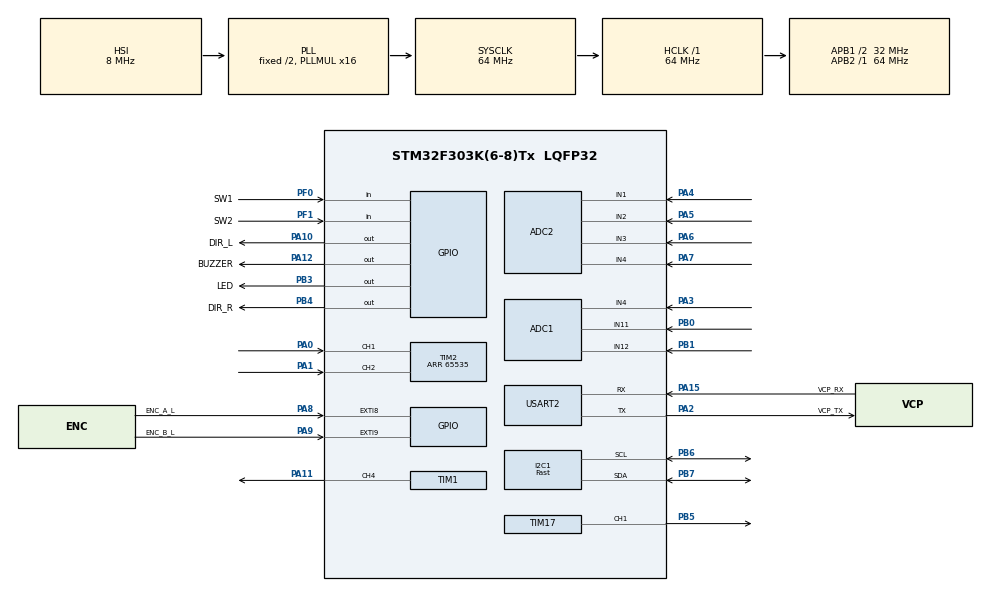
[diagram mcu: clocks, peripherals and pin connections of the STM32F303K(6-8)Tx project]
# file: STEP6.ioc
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ADC1.Channel-3\#ChannelRegularConversion=ADC_CHANNEL_4
ADC1.Channel-4\#ChannelRegularConversion=ADC_CHANNEL_11
ADC1.Channel-5\#ChannelRegularConversion=ADC_CHANNEL_12
ADC1.ContinuousConvMode=DISABLE
ADC1.DMAContinuousRequests=ENABLE
ADC1.DiscontinuousConvMode=ENABLE
ADC1.ExternalTrigConv=ADC_EXTERNALTRIGCONV_T3_TRGO
ADC1.NbrOfConversion=3
ADC1.NbrOfConversionFlag=1
ADC1.NbrOfDiscConversion=3
ADC1.Offset-3\#ChannelRegularConversion=0
ADC1.Offset-4\#ChannelRegularConversion=0
ADC1.Offset-5\#ChannelRegularConversion=0
ADC1.OffsetNumber-3\#ChannelRegularConversion=ADC_OFFSET_NONE
ADC1.OffsetNumber-4\#ChannelRegularConversion=ADC_OFFSET_NONE
ADC1.OffsetNumber-5\#ChannelRegularConversion=ADC_OFFSET_NONE
ADC1.Rank-3\#ChannelRegularConversion=1
ADC1.Rank-4\#ChannelRegularConversion=2
ADC1.Rank-5\#ChannelRegularConversion=3
ADC1.SamplingTime-3\#ChannelRegularConversion=ADC_SAMPLETIME_4CYCLES_5
ADC1.SamplingTime-4\#ChannelRegularConversion=ADC_SAMPLETIME_4CYCLES_5
ADC1.SamplingTime-5\#ChannelRegularConversion=ADC_SAMPLETIME_4CYCLES_5
ADC1.SubFamily=STM32F303x8
ADC1.master=1
ADC2.Channel-3\#ChannelRegularConversion=ADC_CHANNEL_1
ADC2.Channel-4\#ChannelRegularConversion=ADC_CHANNEL_2
ADC2.Channel-5\#ChannelRegularConversion=ADC_CHANNEL_3
ADC2.Channel-6\#ChannelRegularConversion=ADC_CHANNEL_4
ADC2.ContinuousConvMode=DISABLE
ADC2.DMAContinuousRequests=ENABLE
ADC2.DiscontinuousConvMode=ENABLE
ADC2.ExternalTrigConv=ADC_EXTERNALTRIGCONV_T3_TRGO
ADC2.NbrOfConversion=4
ADC2.NbrOfConversionFlag=1
ADC2.NbrOfDiscConversion=4
ADC2.Offset-3\#ChannelRegularConversion=0
ADC2.Offset-4\#ChannelRegularConversion=0
ADC2.Offset-5\#ChannelRegularConversion=0
ADC2.Offset-6\#ChannelRegularConversion=0
ADC2.OffsetNumber-3\#ChannelRegularConversion=ADC_OFFSET_NONE
ADC2.OffsetNumber-4\#ChannelRegularConversion=ADC_OFFSET_NONE
ADC2.OffsetNumber-5\#ChannelRegularConversion=ADC_OFFSET_NONE
ADC2.OffsetNumber-6\#ChannelRegularConversion=ADC_OFFSET_NONE
ADC2.Rank-3\#ChannelRegularConversion=1
ADC2.Rank-4\#ChannelRegularConversion=2
ADC2.Rank-5\#ChannelRegularConversion=3
ADC2.Rank-6\#ChannelRegularConversion=4
ADC2.SamplingTime-3\#ChannelRegularConversion=ADC_SAMPLETIME_4CYCLES_5
ADC2.SamplingTime-4\#ChannelRegularConversion=ADC_SAMPLETIME_4CYCLES_5
ADC2.SamplingTime-5\#ChannelRegularConversion=ADC_SAMPLETIME_4CYCLES_5
ADC2.SamplingTime-6\#ChannelRegularConversion=ADC_SAMPLETIME_4CYCLES_5
ADC2.SubFamily=STM32F303x8
Dma.ADC1.0.Direction=DMA_PERIPH_TO_MEMORY
Dma.ADC1.0.Instance=DMA1_Channel1
Dma.ADC1.0.MemDataAlignment=DMA_MDATAALIGN_HALFWORD
Dma.ADC1.0.MemInc=DMA_MINC_ENABLE
Dma.ADC1.0.Mode=DMA_CIRCULAR
Dma.ADC1.0.PeriphDataAlignment=DMA_PDATAALIGN_HALFWORD
Dma.ADC1.0.PeriphInc=DMA_PINC_DISABLE
Dma.ADC1.0.Priority=DMA_PRIORITY_LOW
Dma.ADC2.1.Direction=DMA_PERIPH_TO_MEMORY
Dma.ADC2.1.Instance=DMA1_Channel2
Dma.ADC2.1.MemDataAlignment=DMA_MDATAALIGN_HALFWORD
Dma.ADC2.1.MemInc=DMA_MINC_ENABLE
Dma.ADC2.1.Mode=DMA_CIRCULAR
Dma.ADC2.1.PeriphDataAlignment=DMA_PDATAALIGN_HALFWORD
Dma.ADC2.1.PeriphInc=DMA_PINC_DISABLE
Dma.ADC2.1.Priority=DMA_PRIORITY_LOW
Dma.I2C1_RX.2.Direction=DMA_PERIPH_TO_MEMORY
Dma.I2C1_RX.2.Instance=DMA1_Channel3
Dma.I2C1_RX.2.MemDataAlignment=DMA_MDATAALIGN_BYTE
Dma.I2C1_RX.2.MemInc=DMA_MINC_ENABLE
Dma.I2C1_RX.2.Mode=DMA_NORMAL
Dma.I2C1_RX.2.PeriphDataAlignment=DMA_PDATAALIGN_BYTE
Dma.I2C1_RX.2.PeriphInc=DMA_PINC_DISABLE
Dma.I2C1_RX.2.Priority=DMA_PRIORITY_LOW
Dma.I2C1_TX.3.Direction=DMA_MEMORY_TO_PERIPH
Dma.I2C1_TX.3.Instance=DMA1_Channel4
Dma.I2C1_TX.3.MemDataAlignment=DMA_MDATAALIGN_BYTE
Dma.I2C1_TX.3.MemInc=DMA_MINC_ENABLE
Dma.I2C1_TX.3.Mode=DMA_NORMAL
Dma.I2C1_TX.3.PeriphDataAlignment=DMA_PDATAALIGN_BYTE
Dma.I2C1_TX.3.PeriphInc=DMA_PINC_DISABLE
Dma.I2C1_TX.3.Priority=DMA_PRIORITY_LOW
Dma.Request0=ADC1
Dma.Request1=ADC2
Dma.Request2=I2C1_RX
Dma.Request3=I2C1_TX
I2C1.Analog_Filter=I2C_ANALOGFILTER_ENABLE
I2C1.I2C_Speed_Mode=I2C_Fast
I2C1.Speed=400
I2C1.Timing=0x0000020B
Mcu.Family=STM32F3
Mcu.Name=STM32F303K(6-8)Tx
Mcu.Package=LQFP32
NVIC.DMA1_Channel1_IRQn=true\:0\:0\:false\:false\:true\:false\:true
NVIC.DMA1_Channel2_IRQn=true\:0\:0\:false\:false\:true\:false\:true
NVIC.DMA1_Channel3_IRQn=true\:0\:0\:false\:false\:true\:false\:true
NVIC.DMA1_Channel4_IRQn=true\:0\:0\:false\:false\:true\:false\:true
NVIC.EXTI9_5_IRQn=true\:0\:0\:false\:false\:true\:true\:true
NVIC.I2C1_EV_IRQn=true\:0\:0\:false\:false\:true\:true\:true
NVIC.PriorityGroup=NVIC_PRIORITYGROUP_4
NVIC.TIM6_DAC1_IRQn=true\:0\:0\:false\:false\:true\:true\:true
NVIC.TIM7_DAC2_IRQn=true\:0\:0\:false\:false\:true\:true\:true
PA0.Signal=S_TIM2_CH1_ETR
PA1.Signal=S_TIM2_CH2
PA10.GPIO_Label=DIR_L
PA10.Signal=GPIO_Output
PA11.Signal=S_TIM1_CH4
PA12.GPIO_Label=BUZZER
PA12.Signal=GPIO_Output
PA13.GPIO_Label=SWDIO
PA13.Mode=Serial_Wire
PA13.Signal=SYS_JTMS-SWDIO
PA14.GPIO_Label=SWCLK
PA14.Mode=Serial_Wire
PA14.Signal=SYS_JTCK-SWCLK
PA15.GPIO_Label=VCP_RX
PA15.Mode=Asynchronous
PA15.Signal=USART2_RX
PA2.GPIO_Label=VCP_TX
PA2.Mode=Asynchronous
PA2.Signal=USART2_TX
PA3.Mode=IN4-Single-Ended
PA3.Signal=ADC1_IN4
PA4.Mode=IN1-Single-Ended
PA4.Signal=ADC2_IN1
PA5.Mode=IN2-Single-Ended
PA5.Signal=ADC2_IN2
PA6.Mode=IN3-Single-Ended
PA6.Signal=ADC2_IN3
PA7.Mode=IN4-Single-Ended
PA7.Signal=ADC2_IN4
PA8.GPIO_Label=ENC_A_L
PA8.GPIO_ModeDefaultEXTI=GPIO_MODE_IT_RISING_FALLING
PA8.Signal=GPXTI8
PA9.GPIO_Label=ENC_B_L
PA9.GPIO_ModeDefaultEXTI=GPIO_MODE_IT_RISING_FALLING
PA9.Signal=GPXTI9
PB0.Mode=IN11-Single-Ended
PB0.Signal=ADC1_IN11
PB1.Mode=IN12-Single-Ended
PB1.Signal=ADC1_IN12
PB3.GPIO_Label=LED
PB3.Signal=GPIO_Output
PB4.GPIO_Label=DIR_R
PB4.Signal=GPIO_Output
PB5.Signal=S_TIM17_CH1
PB6.GPIO_PuPdOD=GPIO_PULLUP
PB6.Mode=I2C
PB6.Signal=I2C1_SCL
PB7.GPIO_PuPdOD=GPIO_PULLUP
PB7.Mode=I2C
PB7.Signal=I2C1_SDA
PF0\ /\ OSC_IN.GPIO_Label=SW1
PF0\ /\ OSC_IN.GPIO_PuPd=GPIO_PULLUP
PF0\ /\ OSC_IN.Signal=GPIO_Input
PF1\ /\ OSC_OUT.GPIO_Label=SW2
PF1\ /\ OSC_OUT.GPIO_PuPd=GPIO_PULLUP
PF1\ /\ OSC_OUT.Signal=GPIO_Input
ProjectManager.HeapSize=0x200
ProjectManager.StackSize=0x400
ProjectManager.TargetToolchain=STM32CubeIDE
RCC.AHBFreq_Value=64000000
RCC.APB1CLKDivider=RCC_HCLK_DIV2
RCC.APB1Freq_Value=32000000
RCC.APB1TimFreq_Value=64000000
RCC.APB2Freq_Value=64000000
RCC.APB2TimFreq_Value=64000000
RCC.CortexFreq_Value=64000000
RCC.HCLKFreq_Value=64000000
RCC.HSE_VALUE=8000000
RCC.HSI_VALUE=8000000
RCC.PLLMUL=RCC_PLL_MUL16
RCC.SYSCLKFreq_VALUE=64000000
RCC.SYSCLKSourceVirtual=RCC_SYSCLKSOURCE_PLLCLK
SH.S_TIM17_CH1.0=TIM17_CH1,PWM Generation1 CH1
SH.S_TIM1_CH4.0=TIM1_CH4,PWM Generation4 CH4
SH.S_TIM2_CH1_ETR.0=TIM2_CH1,Encoder_Interface
SH.S_TIM2_CH2.0=TIM2_CH2,Encoder_Interface
TIM1.AutoReloadPreload=TIM_AUTORELOAD_PRELOAD_ENABLE
TIM1.Channel-PWM\ Generation4\ CH4=TIM_CHANNEL_4
TIM1.Period=3199
TIM1.Prescaler=0
TIM1.Pulse-PWM\ Generation4\ CH4=0
TIM17.AutoReloadPreload=TIM_AUTORELOAD_PRELOAD_ENABLE
TIM17.Channel=TIM_CHANNEL_1
TIM17.Period=3199
TIM17.Prescaler=0
TIM17.Pulse=0
TIM2.AutoReloadPreload=TIM_AUTORELOAD_PRELOAD_ENABLE
TIM2.EncoderMode=TIM_ENCODERMODE_TI12
TIM2.Period=65535
TIM3.AutoReloadPreload=TIM_AUTORELOAD_PRELOAD_ENABLE
TIM3.Period=999
TIM3.Prescaler=63
TIM3.TIM_MasterOutputTrigger=TIM_TRGO_UPDATE
TIM6.AutoReloadPreload=TIM_AUTORELOAD_PRELOAD_ENABLE
TIM6.Period=499
TIM6.Prescaler=63
TIM7.AutoReloadPreload=TIM_AUTORELOAD_PRELOAD_ENABLE
TIM7.Period=9999
TIM7.Prescaler=63
USART2.VirtualMode-Asynchronous=VM_ASYNC
VP_TIM17_VS_ClockSourceINT.Mode=Enable_Timer
VP_TIM3_VS_ClockSourceINT.Mode=Internal
VP_TIM6_VS_ClockSourceINT.Mode=Enable_Timer
VP_TIM7_VS_ClockSourceINT.Mode=Enable_Timer
board=NUCLEO-F303K8

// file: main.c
/* USER CODE BEGIN Header */
/**
  ******************************************************************************
  * @file           : main.c
  * @brief          : Main program body
  ******************************************************************************
  * @attention
  *
  * Copyright (c) 2020 RT Corporation
  * License: Apache License, Version 2.0
  * https://www.apache.org/licenses/LICENSE-2.0
  *
  * This file is licensed the Apache License, Version 2.0.
  * This file is based on the auto generated template .c file
  * released by STMicroelectronics licensed under the BSD 3-Clause License.
  *
  *=*=*=*=*=*=*=*=*=*=*=*=*=*=*=*=*=*=*=*=*=*=*=*=*=*=*=*=*=*=*=*=*=*=*=*=*=*=
  * <h2><center>&copy; Copyright (c) 2020 STMicroelectronics.
  * All rights reserved.</center></h2>
  *
  * This software component is licensed by ST under BSD 3-Clause license,
  * the "License"; You may not use this file except in compliance with the
  * License. You may obtain a copy of the License at:
  *                        opensource.org/licenses/BSD-3-Clause
  *=*=*=*=*=*=*=*=*=*=*=*=*=*=*=*=*=*=*=*=*=*=*=*=*=*=*=*=*=*=*=*=*=*=*=*=*=*=
  *
  ******************************************************************************
  */
/* USER CODE END Header */

#include "main.h"

ADC_HandleTypeDef hadc1;
ADC_HandleTypeDef hadc2;
DMA_HandleTypeDef hdma_adc1;
DMA_HandleTypeDef hdma_adc2;

I2C_HandleTypeDef hi2c1;
DMA_HandleTypeDef hdma_i2c1_rx;
DMA_HandleTypeDef hdma_i2c1_tx;

TIM_HandleTypeDef htim1;
TIM_HandleTypeDef htim2;
TIM_HandleTypeDef htim3;
TIM_HandleTypeDef htim6;
TIM_HandleTypeDef htim7;
TIM_HandleTypeDef htim17;

UART_HandleTypeDef huart2;

void SystemClock_Config(void);
static void MX_GPIO_Init(void);
static void MX_DMA_Init(void);
static void MX_USART2_UART_Init(void);
static void MX_I2C1_Init(void);
static void MX_TIM1_Init(void);
static void MX_TIM2_Init(void);
static void MX_TIM17_Init(void);
static void MX_ADC1_Init(void);
static void MX_ADC2_Init(void);
static void MX_TIM3_Init(void);
static void MX_TIM6_Init(void);
static void MX_TIM7_Init(void);
/* USER CODE BEGIN PFP */

int CW_R = 0 ;
int CCW_R = 1 ;
int CW_L = 1 ;
int CCW_L = 0 ;
int PWM = 0;

/* USER CODE END PFP */

int main(void)
{

  /* MCU Configuration--------------------------------------------------------*/

  /* Reset of all peripherals, Initializes the Flash interface and the Systick. */
  HAL_Init();

  /* Configure the system clock */
  SystemClock_Config();

  /* Initialize all configured peripherals */
  MX_GPIO_Init();
  MX_DMA_Init();
  MX_USART2_UART_Init();
  MX_I2C1_Init();
  MX_TIM1_Init();
  MX_TIM2_Init();
  MX_TIM17_Init();
  MX_ADC1_Init();
  MX_ADC2_Init();
  MX_TIM3_Init();
  MX_TIM6_Init();
  MX_TIM7_Init();
  /* USER CODE BEGIN 2 */
  HAL_GPIO_WritePin(DIR_R_GPIO_Port,DIR_R_Pin,CW_R);
  HAL_GPIO_WritePin(DIR_L_GPIO_Port,DIR_L_Pin,CW_L);
  HAL_TIM_PWM_Start(&htim1,TIM_CHANNEL_4);
  HAL_TIM_PWM_Start(&htim17,TIM_CHANNEL_1);

  /* USER CODE END 2 */

  /* Infinite loop */
  /* USER CODE BEGIN WHILE */
  while (1)
  {
	  if(HAL_GPIO_ReadPin(SW1_GPIO_Port,SW1_Pin) == 0){
		  HAL_Delay(200);
		  PWM += 128;
		  if(PWM > 3199){
			  PWM = 3199;
		  }
		  TIM1->CCR4 = PWM;
		  TIM17->CCR1 = PWM;
	  }
	  if(HAL_GPIO_ReadPin(SW2_GPIO_Port,SW2_Pin) == 0){
		  HAL_Delay(200);
		  PWM -= 128;
		  if(PWM < 0 ){
			  PWM = 0;
		  }
		  TIM1->CCR4 = PWM;
		  TIM17->CCR1 = PWM;
	  }

    /* USER CODE END WHILE */

  }
}

void SystemClock_Config(void)
{
  RCC_OscInitTypeDef RCC_OscInitStruct = {0};
  RCC_ClkInitTypeDef RCC_ClkInitStruct = {0};
  RCC_PeriphCLKInitTypeDef PeriphClkInit = {0};

  /** Initializes the CPU, AHB and APB busses clocks
  */
  RCC_OscInitStruct.OscillatorType = RCC_OSCILLATORTYPE_HSI;
  RCC_OscInitStruct.HSIState = RCC_HSI_ON;
  RCC_OscInitStruct.HSICalibrationValue = RCC_HSICALIBRATION_DEFAULT;
  RCC_OscInitStruct.PLL.PLLState = RCC_PLL_ON;
  RCC_OscInitStruct.PLL.PLLSource = RCC_PLLSOURCE_HSI;
  RCC_OscInitStruct.PLL.PLLMUL = RCC_PLL_MUL16;
  if (HAL_RCC_OscConfig(&RCC_OscInitStruct) != HAL_OK)
  {
    Error_Handler();
  }
  /** Initializes the CPU, AHB and APB busses clocks
  */
  RCC_ClkInitStruct.ClockType = RCC_CLOCKTYPE_HCLK|RCC_CLOCKTYPE_SYSCLK
                              |RCC_CLOCKTYPE_PCLK1|RCC_CLOCKTYPE_PCLK2;
  RCC_ClkInitStruct.SYSCLKSource = RCC_SYSCLKSOURCE_PLLCLK;
  RCC_ClkInitStruct.AHBCLKDivider = RCC_SYSCLK_DIV1;
  RCC_ClkInitStruct.APB1CLKDivider = RCC_HCLK_DIV2;
  RCC_ClkInitStruct.APB2CLKDivider = RCC_HCLK_DIV1;

  if (HAL_RCC_ClockConfig(&RCC_ClkInitStruct, FLASH_LATENCY_2) != HAL_OK)
  {
    Error_Handler();
  }
  PeriphClkInit.PeriphClockSelection = RCC_PERIPHCLK_I2C1|RCC_PERIPHCLK_TIM1
                              |RCC_PERIPHCLK_ADC12;
  PeriphClkInit.Adc12ClockSelection = RCC_ADC12PLLCLK_DIV1;
  PeriphClkInit.I2c1ClockSelection = RCC_I2C1CLKSOURCE_HSI;
  PeriphClkInit.Tim1ClockSelection = RCC_TIM1CLK_HCLK;
  if (HAL_RCCEx_PeriphCLKConfig(&PeriphClkInit) != HAL_OK)
  {
    Error_Handler();
  }
}

static void MX_ADC1_Init(void)
{

  ADC_MultiModeTypeDef multimode = {0};
  ADC_ChannelConfTypeDef sConfig = {0};

  /** Common config
  */
  hadc1.Instance = ADC1;
  hadc1.Init.ClockPrescaler = ADC_CLOCK_ASYNC_DIV1;
  hadc1.Init.Resolution = ADC_RESOLUTION_12B;
  hadc1.Init.ScanConvMode = ADC_SCAN_ENABLE;
  hadc1.Init.ContinuousConvMode = DISABLE;
  hadc1.Init.DiscontinuousConvMode = ENABLE;
  hadc1.Init.NbrOfDiscConversion = 3;
  hadc1.Init.ExternalTrigConvEdge = ADC_EXTERNALTRIGCONVEDGE_RISING;
  hadc1.Init.ExternalTrigConv = ADC_EXTERNALTRIGCONV_T3_TRGO;
  hadc1.Init.DataAlign = ADC_DATAALIGN_RIGHT;
  hadc1.Init.NbrOfConversion = 3;
  hadc1.Init.DMAContinuousRequests = ENABLE;
  hadc1.Init.EOCSelection = ADC_EOC_SINGLE_CONV;
  hadc1.Init.LowPowerAutoWait = DISABLE;
  hadc1.Init.Overrun = ADC_OVR_DATA_OVERWRITTEN;
  if (HAL_ADC_Init(&hadc1) != HAL_OK)
  {
    Error_Handler();
  }
  /** Configure the ADC multi-mode
  */
  multimode.Mode = ADC_MODE_INDEPENDENT;
  if (HAL_ADCEx_MultiModeConfigChannel(&hadc1, &multimode) != HAL_OK)
  {
    Error_Handler();
  }
  /** Configure Regular Channel
  */
  sConfig.Channel = ADC_CHANNEL_4;
  sConfig.Rank = ADC_REGULAR_RANK_1;
  sConfig.SingleDiff = ADC_SINGLE_ENDED;
  sConfig.SamplingTime = ADC_SAMPLETIME_4CYCLES_5;
  sConfig.OffsetNumber = ADC_OFFSET_NONE;
  sConfig.Offset = 0;
  if (HAL_ADC_ConfigChannel(&hadc1, &sConfig) != HAL_OK)
  {
    Error_Handler();
  }
  /** Configure Regular Channel
  */
  sConfig.Channel = ADC_CHANNEL_11;
  sConfig.Rank = ADC_REGULAR_RANK_2;
  if (HAL_ADC_ConfigChannel(&hadc1, &sConfig) != HAL_OK)
  {
    Error_Handler();
  }
  /** Configure Regular Channel
  */
  sConfig.Channel = ADC_CHANNEL_12;
  sConfig.Rank = ADC_REGULAR_RANK_3;
  if (HAL_ADC_ConfigChannel(&hadc1, &sConfig) != HAL_OK)
  {
    Error_Handler();
  }

}

static void MX_ADC2_Init(void)
{

  ADC_ChannelConfTypeDef sConfig = {0};

  /** Common config
  */
  hadc2.Instance = ADC2;
  hadc2.Init.ClockPrescaler = ADC_CLOCK_ASYNC_DIV1;
  hadc2.Init.Resolution = ADC_RESOLUTION_12B;
  hadc2.Init.ScanConvMode = ADC_SCAN_ENABLE;
  hadc2.Init.ContinuousConvMode = DISABLE;
  hadc2.Init.DiscontinuousConvMode = ENABLE;
  hadc2.Init.NbrOfDiscConversion = 4;
  hadc2.Init.ExternalTrigConvEdge = ADC_EXTERNALTRIGCONVEDGE_RISING;
  hadc2.Init.ExternalTrigConv = ADC_EXTERNALTRIGCONV_T3_TRGO;
  hadc2.Init.DataAlign = ADC_DATAALIGN_RIGHT;
  hadc2.Init.NbrOfConversion = 4;
  hadc2.Init.DMAContinuousRequests = ENABLE;
  hadc2.Init.EOCSelection = ADC_EOC_SINGLE_CONV;
  hadc2.Init.LowPowerAutoWait = DISABLE;
  hadc2.Init.Overrun = ADC_OVR_DATA_OVERWRITTEN;
  if (HAL_ADC_Init(&hadc2) != HAL_OK)
  {
    Error_Handler();
  }
  /** Configure Regular Channel
  */
  sConfig.Channel = ADC_CHANNEL_1;
  sConfig.Rank = ADC_REGULAR_RANK_1;
  sConfig.SingleDiff = ADC_SINGLE_ENDED;
  sConfig.SamplingTime = ADC_SAMPLETIME_4CYCLES_5;
  sConfig.OffsetNumber = ADC_OFFSET_NONE;
  sConfig.Offset = 0;
  if (HAL_ADC_ConfigChannel(&hadc2, &sConfig) != HAL_OK)
  {
    Error_Handler();
  }
  /** Configure Regular Channel
  */
  sConfig.Channel = ADC_CHANNEL_2;
  sConfig.Rank = ADC_REGULAR_RANK_2;
  if (HAL_ADC_ConfigChannel(&hadc2, &sConfig) != HAL_OK)
  {
    Error_Handler();
  }
  /** Configure Regular Channel
  */
  sConfig.Channel = ADC_CHANNEL_3;
  sConfig.Rank = ADC_REGULAR_RANK_3;
  if (HAL_ADC_ConfigChannel(&hadc2, &sConfig) != HAL_OK)
  {
    Error_Handler();
  }
  /** Configure Regular Channel
  */
  sConfig.Channel = ADC_CHANNEL_4;
  sConfig.Rank = ADC_REGULAR_RANK_4;
  if (HAL_ADC_ConfigChannel(&hadc2, &sConfig) != HAL_OK)
  {
    Error_Handler();
  }

}

static void MX_I2C1_Init(void)
{

  hi2c1.Instance = I2C1;
  hi2c1.Init.Timing = 0x0000020B;
  hi2c1.Init.OwnAddress1 = 0;
  hi2c1.Init.AddressingMode = I2C_ADDRESSINGMODE_7BIT;
  hi2c1.Init.DualAddressMode = I2C_DUALADDRESS_DISABLE;
  hi2c1.Init.OwnAddress2 = 0;
  hi2c1.Init.OwnAddress2Masks = I2C_OA2_NOMASK;
  hi2c1.Init.GeneralCallMode = I2C_GENERALCALL_DISABLE;
  hi2c1.Init.NoStretchMode = I2C_NOSTRETCH_DISABLE;
  if (HAL_I2C_Init(&hi2c1) != HAL_OK)
  {
    Error_Handler();
  }
  /** Configure Analogue filter
  */
  if (HAL_I2CEx_ConfigAnalogFilter(&hi2c1, I2C_ANALOGFILTER_ENABLE) != HAL_OK)
  {
    Error_Handler();
  }
  /** Configure Digital filter
  */
  if (HAL_I2CEx_ConfigDigitalFilter(&hi2c1, 0) != HAL_OK)
  {
    Error_Handler();
  }

}

static void MX_TIM1_Init(void)
{

  TIM_MasterConfigTypeDef sMasterConfig = {0};
  TIM_OC_InitTypeDef sConfigOC = {0};
  TIM_BreakDeadTimeConfigTypeDef sBreakDeadTimeConfig = {0};

  htim1.Instance = TIM1;
  htim1.Init.Prescaler = 0;
  htim1.Init.CounterMode = TIM_COUNTERMODE_UP;
  htim1.Init.Period = 3199;
  htim1.Init.ClockDivision = TIM_CLOCKDIVISION_DIV1;
  htim1.Init.RepetitionCounter = 0;
  htim1.Init.AutoReloadPreload = TIM_AUTORELOAD_PRELOAD_ENABLE;
  if (HAL_TIM_PWM_Init(&htim1) != HAL_OK)
  {
    Error_Handler();
  }
  sMasterConfig.MasterOutputTrigger = TIM_TRGO_RESET;
  sMasterConfig.MasterOutputTrigger2 = TIM_TRGO2_RESET;
  sMasterConfig.MasterSlaveMode = TIM_MASTERSLAVEMODE_DISABLE;
  if (HAL_TIMEx_MasterConfigSynchronization(&htim1, &sMasterConfig) != HAL_OK)
  {
    Error_Handler();
  }
  sConfigOC.OCMode = TIM_OCMODE_PWM1;
  sConfigOC.Pulse = 0;
  sConfigOC.OCPolarity = TIM_OCPOLARITY_HIGH;
  sConfigOC.OCFastMode = TIM_OCFAST_DISABLE;
  sConfigOC.OCIdleState = TIM_OCIDLESTATE_RESET;
  sConfigOC.OCNIdleState = TIM_OCNIDLESTATE_RESET;
  if (HAL_TIM_PWM_ConfigChannel(&htim1, &sConfigOC, TIM_CHANNEL_4) != HAL_OK)
  {
    Error_Handler();
  }
  sBreakDeadTimeConfig.OffStateRunMode = TIM_OSSR_DISABLE;
  sBreakDeadTimeConfig.OffStateIDLEMode = TIM_OSSI_DISABLE;
  sBreakDeadTimeConfig.LockLevel = TIM_LOCKLEVEL_OFF;
  sBreakDeadTimeConfig.DeadTime = 0;
  sBreakDeadTimeConfig.BreakState = TIM_BREAK_DISABLE;
  sBreakDeadTimeConfig.BreakPolarity = TIM_BREAKPOLARITY_HIGH;
  sBreakDeadTimeConfig.BreakFilter = 0;
  sBreakDeadTimeConfig.Break2State = TIM_BREAK2_DISABLE;
  sBreakDeadTimeConfig.Break2Polarity = TIM_BREAK2POLARITY_HIGH;
  sBreakDeadTimeConfig.Break2Filter = 0;
  sBreakDeadTimeConfig.AutomaticOutput = TIM_AUTOMATICOUTPUT_DISABLE;
  if (HAL_TIMEx_ConfigBreakDeadTime(&htim1, &sBreakDeadTimeConfig) != HAL_OK)
  {
    Error_Handler();
  }
  HAL_TIM_MspPostInit(&htim1);

}

static void MX_TIM2_Init(void)
{

  TIM_Encoder_InitTypeDef sConfig = {0};
  TIM_MasterConfigTypeDef sMasterConfig = {0};

  htim2.Instance = TIM2;
  htim2.Init.Prescaler = 0;
  htim2.Init.CounterMode = TIM_COUNTERMODE_UP;
  htim2.Init.Period = 65535;
  htim2.Init.ClockDivision = TIM_CLOCKDIVISION_DIV1;
  htim2.Init.AutoReloadPreload = TIM_AUTORELOAD_PRELOAD_ENABLE;
  sConfig.EncoderMode = TIM_ENCODERMODE_TI12;
  sConfig.IC1Polarity = TIM_ICPOLARITY_RISING;
  sConfig.IC1Selection = TIM_ICSELECTION_DIRECTTI;
  sConfig.IC1Prescaler = TIM_ICPSC_DIV1;
  sConfig.IC1Filter = 0;
  sConfig.IC2Polarity = TIM_ICPOLARITY_RISING;
  sConfig.IC2Selection = TIM_ICSELECTION_DIRECTTI;
  sConfig.IC2Prescaler = TIM_ICPSC_DIV1;
  sConfig.IC2Filter = 0;
  if (HAL_TIM_Encoder_Init(&htim2, &sConfig) != HAL_OK)
  {
    Error_Handler();
  }
  sMasterConfig.MasterOutputTrigger = TIM_TRGO_RESET;
  sMasterConfig.MasterSlaveMode = TIM_MASTERSLAVEMODE_DISABLE;
  if (HAL_TIMEx_MasterConfigSynchronization(&htim2, &sMasterConfig) != HAL_OK)
  {
    Error_Handler();
  }

}

static void MX_TIM3_Init(void)
{

  TIM_ClockConfigTypeDef sClockSourceConfig = {0};
  TIM_MasterConfigTypeDef sMasterConfig = {0};

  htim3.Instance = TIM3;
  htim3.Init.Prescaler = 63;
  htim3.Init.CounterMode = TIM_COUNTERMODE_UP;
  htim3.Init.Period = 999;
  htim3.Init.ClockDivision = TIM_CLOCKDIVISION_DIV1;
  htim3.Init.AutoReloadPreload = TIM_AUTORELOAD_PRELOAD_ENABLE;
  if (HAL_TIM_Base_Init(&htim3) != HAL_OK)
  {
    Error_Handler();
  }
  sClockSourceConfig.ClockSource = TIM_CLOCKSOURCE_INTERNAL;
  if (HAL_TIM_ConfigClockSource(&htim3, &sClockSourceConfig) != HAL_OK)
  {
    Error_Handler();
  }
  sMasterConfig.MasterOutputTrigger = TIM_TRGO_UPDATE;
  sMasterConfig.MasterSlaveMode = TIM_MASTERSLAVEMODE_DISABLE;
  if (HAL_TIMEx_MasterConfigSynchronization(&htim3, &sMasterConfig) != HAL_OK)
  {
    Error_Handler();
  }

}

static void MX_TIM6_Init(void)
{

  TIM_MasterConfigTypeDef sMasterConfig = {0};

  htim6.Instance = TIM6;
  htim6.Init.Prescaler = 63;
  htim6.Init.CounterMode = TIM_COUNTERMODE_UP;
  htim6.Init.Period = 499;
  htim6.Init.AutoReloadPreload = TIM_AUTORELOAD_PRELOAD_ENABLE;
  if (HAL_TIM_Base_Init(&htim6) != HAL_OK)
  {
    Error_Handler();
  }
  sMasterConfig.MasterOutputTrigger = TIM_TRGO_RESET;
  sMasterConfig.MasterSlaveMode = TIM_MASTERSLAVEMODE_DISABLE;
  if (HAL_TIMEx_MasterConfigSynchronization(&htim6, &sMasterConfig) != HAL_OK)
  {
    Error_Handler();
  }

}

static void MX_TIM7_Init(void)
{

  TIM_MasterConfigTypeDef sMasterConfig = {0};

  htim7.Instance = TIM7;
  htim7.Init.Prescaler = 63;
  htim7.Init.CounterMode = TIM_COUNTERMODE_UP;
  htim7.Init.Period = 9999;
  htim7.Init.AutoReloadPreload = TIM_AUTORELOAD_PRELOAD_ENABLE;
  if (HAL_TIM_Base_Init(&htim7) != HAL_OK)
  {
    Error_Handler();
  }
  sMasterConfig.MasterOutputTrigger = TIM_TRGO_RESET;
  sMasterConfig.MasterSlaveMode = TIM_MASTERSLAVEMODE_DISABLE;
  if (HAL_TIMEx_MasterConfigSynchronization(&htim7, &sMasterConfig) != HAL_OK)
  {
    Error_Handler();
  }

}

static void MX_TIM17_Init(void)
{

  TIM_OC_InitTypeDef sConfigOC = {0};
  TIM_BreakDeadTimeConfigTypeDef sBreakDeadTimeConfig = {0};

  htim17.Instance = TIM17;
  htim17.Init.Prescaler = 0;
  htim17.Init.CounterMode = TIM_COUNTERMODE_UP;
  htim17.Init.Period = 3199;
  htim17.Init.ClockDivision = TIM_CLOCKDIVISION_DIV1;
  htim17.Init.RepetitionCounter = 0;
  htim17.Init.AutoReloadPreload = TIM_AUTORELOAD_PRELOAD_ENABLE;
  if (HAL_TIM_Base_Init(&htim17) != HAL_OK)
  {
    Error_Handler();
  }
  if (HAL_TIM_PWM_Init(&htim17) != HAL_OK)
  {
    Error_Handler();
  }
  sConfigOC.OCMode = TIM_OCMODE_PWM1;
  sConfigOC.Pulse = 0;
  sConfigOC.OCPolarity = TIM_OCPOLARITY_HIGH;
  sConfigOC.OCNPolarity = TIM_OCNPOLARITY_HIGH;
  sConfigOC.OCFastMode = TIM_OCFAST_DISABLE;
  sConfigOC.OCIdleState = TIM_OCIDLESTATE_RESET;
  sConfigOC.OCNIdleState = TIM_OCNIDLESTATE_RESET;
  if (HAL_TIM_PWM_ConfigChannel(&htim17, &sConfigOC, TIM_CHANNEL_1) != HAL_OK)
  {
    Error_Handler();
  }
  sBreakDeadTimeConfig.OffStateRunMode = TIM_OSSR_DISABLE;
  sBreakDeadTimeConfig.OffStateIDLEMode = TIM_OSSI_DISABLE;
  sBreakDeadTimeConfig.LockLevel = TIM_LOCKLEVEL_OFF;
  sBreakDeadTimeConfig.DeadTime = 0;
  sBreakDeadTimeConfig.BreakState = TIM_BREAK_DISABLE;
  sBreakDeadTimeConfig.BreakPolarity = TIM_BREAKPOLARITY_HIGH;
  sBreakDeadTimeConfig.BreakFilter = 0;
  sBreakDeadTimeConfig.AutomaticOutput = TIM_AUTOMATICOUTPUT_DISABLE;
  if (HAL_TIMEx_ConfigBreakDeadTime(&htim17, &sBreakDeadTimeConfig) != HAL_OK)
  {
    Error_Handler();
  }
  HAL_TIM_MspPostInit(&htim17);

}

static void MX_USART2_UART_Init(void)
{

  huart2.Instance = USART2;
  huart2.Init.BaudRate = 38400;
  huart2.Init.WordLength = UART_WORDLENGTH_8B;
  huart2.Init.StopBits = UART_STOPBITS_1;
  huart2.Init.Parity = UART_PARITY_NONE;
  huart2.Init.Mode = UART_MODE_TX_RX;
  huart2.Init.HwFlowCtl = UART_HWCONTROL_NONE;
  huart2.Init.OverSampling = UART_OVERSAMPLING_16;
  huart2.Init.OneBitSampling = UART_ONE_BIT_SAMPLE_DISABLE;
  huart2.AdvancedInit.AdvFeatureInit = UART_ADVFEATURE_NO_INIT;
  if (HAL_UART_Init(&huart2) != HAL_OK)
  {
    Error_Handler();
  }

}

static void MX_DMA_Init(void)
{

  /* DMA controller clock enable */
  __HAL_RCC_DMA1_CLK_ENABLE();

  /* DMA interrupt init */
  /* DMA1_Channel1_IRQn interrupt configuration */
  HAL_NVIC_SetPriority(DMA1_Channel1_IRQn, 0, 0);
  HAL_NVIC_EnableIRQ(DMA1_Channel1_IRQn);
  /* DMA1_Channel2_IRQn interrupt configuration */
  HAL_NVIC_SetPriority(DMA1_Channel2_IRQn, 0, 0);
  HAL_NVIC_EnableIRQ(DMA1_Channel2_IRQn);
  /* DMA1_Channel3_IRQn interrupt configuration */
  HAL_NVIC_SetPriority(DMA1_Channel3_IRQn, 0, 0);
  HAL_NVIC_EnableIRQ(DMA1_Channel3_IRQn);
  /* DMA1_Channel4_IRQn interrupt configuration */
  HAL_NVIC_SetPriority(DMA1_Channel4_IRQn, 0, 0);
  HAL_NVIC_EnableIRQ(DMA1_Channel4_IRQn);

}

static void MX_GPIO_Init(void)
{
  GPIO_InitTypeDef GPIO_InitStruct = {0};

  /* GPIO Ports Clock Enable */
  __HAL_RCC_GPIOF_CLK_ENABLE();
  __HAL_RCC_GPIOA_CLK_ENABLE();
  __HAL_RCC_GPIOB_CLK_ENABLE();

  /*Configure GPIO pin Output Level */
  HAL_GPIO_WritePin(GPIOA, DIR_L_Pin|BUZZER_Pin, GPIO_PIN_RESET);

  /*Configure GPIO pin Output Level */
  HAL_GPIO_WritePin(GPIOB, LED_Pin|DIR_R_Pin, GPIO_PIN_RESET);

  /*Configure GPIO pins : SW1_Pin SW2_Pin */
  GPIO_InitStruct.Pin = SW1_Pin|SW2_Pin;
  GPIO_InitStruct.Mode = GPIO_MODE_INPUT;
  GPIO_InitStruct.Pull = GPIO_PULLUP;
  HAL_GPIO_Init(GPIOF, &GPIO_InitStruct);

  /*Configure GPIO pin : ENC_A_L_Pin */
  GPIO_InitStruct.Pin = ENC_A_L_Pin;
  GPIO_InitStruct.Mode = GPIO_MODE_IT_RISING_FALLING;
  GPIO_InitStruct.Pull = GPIO_NOPULL;
  HAL_GPIO_Init(ENC_A_L_GPIO_Port, &GPIO_InitStruct);

  /*Configure GPIO pin : ENC_B_L_Pin */
  GPIO_InitStruct.Pin = ENC_B_L_Pin;
  GPIO_InitStruct.Mode = GPIO_MODE_IT_RISING;
  GPIO_InitStruct.Pull = GPIO_NOPULL;
  HAL_GPIO_Init(ENC_B_L_GPIO_Port, &GPIO_InitStruct);

  /*Configure GPIO pins : DIR_L_Pin BUZZER_Pin */
  GPIO_InitStruct.Pin = DIR_L_Pin|BUZZER_Pin;
  GPIO_InitStruct.Mode = GPIO_MODE_OUTPUT_PP;
  GPIO_InitStruct.Pull = GPIO_NOPULL;
  GPIO_InitStruct.Speed = GPIO_SPEED_FREQ_LOW;
  HAL_GPIO_Init(GPIOA, &GPIO_InitStruct);

  /*Configure GPIO pins : LED_Pin DIR_R_Pin */
  GPIO_InitStruct.Pin = LED_Pin|DIR_R_Pin;
  GPIO_InitStruct.Mode = GPIO_MODE_OUTPUT_PP;
  GPIO_InitStruct.Pull = GPIO_NOPULL;
  GPIO_InitStruct.Speed = GPIO_SPEED_FREQ_LOW;
  HAL_GPIO_Init(GPIOB, &GPIO_InitStruct);

  /* EXTI interrupt init*/
  HAL_NVIC_SetPriority(EXTI9_5_IRQn, 0, 0);
  HAL_NVIC_EnableIRQ(EXTI9_5_IRQn);

}

void Error_Handler(void)
{
}

/************************ (C) COPYRIGHT STMicroelectronics *****END OF FILE****/
